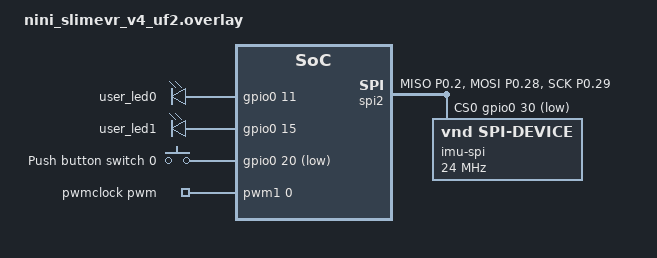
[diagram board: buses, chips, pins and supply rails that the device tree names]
/ {
	leds {
		compatible = "gpio-leds";
		user_led0: led_0 {
			gpios = <&gpio0 11 GPIO_OPEN_SOURCE>;
		};
		user_led1: led_1 {
			gpios = <&gpio0 15 GPIO_OPEN_SOURCE>;
		};
	};

	buttons {
		compatible = "gpio-keys";
		button0: button_0 {
			gpios = <&gpio0 20 (GPIO_PULL_UP | GPIO_ACTIVE_LOW)>;
			label = "Push button switch 0";
		};
	};

	pwmclock: pwmclock {
		compatible = "pwm-clock";
		#clock-cells = <1>;
		pwms = <&pwm1 0 PWM_HZ(32768) PWM_POLARITY_NORMAL>;
	};

	aliases {
		sw0 = &button0;
		led0 = &user_led0;
		led1 = &user_led1;
		imu0 = &imu_spi;
	};
};

&pinctrl {
	spi2_default: spi2_default {
		group1 {
			psels = <NRF_PSEL(SPIM_MISO, 0, 2)>,
				<NRF_PSEL(SPIM_MOSI, 0, 28)>,
				<NRF_PSEL(SPIM_SCK,  0, 29)>;
			bias-disable;
		};
	};

	spi2_sleep: spi2_sleep {
		group1 {
			psels = <NRF_PSEL(SPIM_MISO, 0, 2)>,
				<NRF_PSEL(SPIM_MOSI, 0, 28)>,
				<NRF_PSEL(SPIM_SCK,  0, 29)>;
			low-power-enable;
		};
	};
};

&spi2 {
	status = "okay";
	compatible = "nordic,nrf-spim";
	pinctrl-0 = <&spi2_default>;
	pinctrl-1 = <&spi2_sleep>;
	pinctrl-names = "default", "sleep";

	cs-gpios = <&gpio0 30 GPIO_ACTIVE_LOW>;

	imu_spi: imu@0 {
		compatible = "vnd,spi-device";
		reg = <0>;
		label = "imu-spi";
		spi-max-frequency = <DT_FREQ_M(24)>;
	};
};

